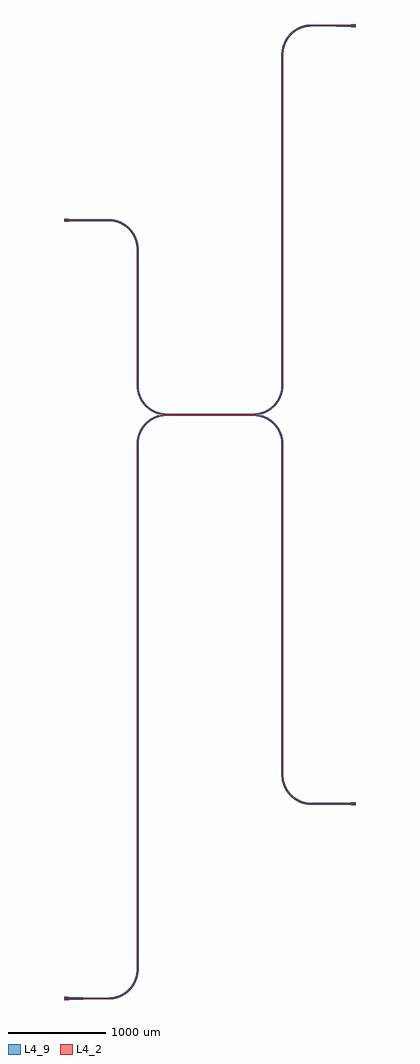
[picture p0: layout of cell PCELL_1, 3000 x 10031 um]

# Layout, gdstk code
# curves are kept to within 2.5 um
import gdstk
lib = gdstk.Library(unit=1e-6, precision=5e-09)
def R(c, l, rs):  # rectangles x0, y0, x1, y1
    for r in rs: c.add(gdstk.rectangle(r[:2], r[2:], *l))
def P(c, l, *ps):  # polygons
    for p in ps: c.add(gdstk.Polygon(p, *l))
L4_2 = (4, 2)
L4_9 = (4, 9)

transition_wire_wire_lin = lib.new_cell('TRANSITION_WIRE_WIRE_LINEAR_1')
P(transition_wire_wire_lin, L4_2, [(50,7.5),(50,-7.5),(350,-1.9),(350,1.9)])
P(transition_wire_wire_lin, L4_9, [(50,15.5),(50,7.5),(50,-7.5),(50,-15.5),(350,-9.9),(350,-1.9),(350,1.9),(350,9.9)])

c_transition_wire_wire_lin = lib.new_cell('TRANSITION_WIRE_WIRE_LINEAR_2')
P(c_transition_wire_wire_lin, L4_2, [(50,1.9),(50,-1.9),(350,-7.5),(350,7.5)])
P(c_transition_wire_wire_lin, L4_9, [(50,9.9),(50,1.9),(50,-1.9),(50,-9.9),(350,-15.5),(350,-7.5),(350,7.5),(350,15.5)])

dongbo = lib.new_cell('Dongbo')
R(dongbo, L4_2, [(0,-7.5,50,7.5)])
P(dongbo, L4_9, [(0,-15.5),(50,-15.5),(50,-7.5),(50,7.5),(50,15.5),(0,15.5),(0,7.5),(0,-7.5)])

my_dircoup_2_wg1a = lib.new_cell('my_dircoup_2_wg1a')
P(my_dircoup_2_wg1a, L4_2, [(-742.6,-304.4),(-741.875,-281.57),(-739.695,-260.845),(-736.075,-240.32),(-729.555,-215.1),(-722.765,-195.39),(-714.625,-176.205),(-702.595,-153.1),(-691.55,-135.425),(-679.3,-118.565),(-665.905,-102.6),(-651.425,-87.605),(-631.915,-70.345),(-615.27,-57.8),(-593.3,-43.805),(-574.9,-34.02),(-555.86,-25.545),(-531.3,-16.845),(-506.08,-10.325),(-480.39,-6.025),(-459.63,-4.21),(-443.995,-3.8),(0,-3.8),(0,-1),(-454.52,-1.185),(-480.73,-3.245),(-506.665,-7.585),(-532.12,-14.17),(-556.905,-22.945),(-580.835,-33.85),(-599.235,-44.05),(-621.16,-58.56),(-637.735,-71.515),(-653.37,-85.59),(-667.985,-100.725),(-684.71,-121.015),(-696.775,-138.245),(-710.12,-160.9),(-719.345,-179.81),(-727.225,-199.315),(-735.13,-224.39),(-740.82,-250.06),(-744.255,-276.13),(-745.215,-291.88),(-745.4,-304.4)])
P(my_dircoup_2_wg1a, L4_9, [(-734.6,-304.4),(-731.77,-261.955),(-723.34,-222.3),(-707.375,-179.585),(-687.715,-144.13),(-659.96,-107.95),(-630.795,-79.79),(-593.67,-53.305),(-557.545,-34.9),(-504.42,-18.15),(-454.14,-11.975),(0,-11.8),(0,7),(-454.8,6.81),(-508.33,0.24),(-564.89,-17.595),(-607.955,-40.015),(-646.985,-68.895),(-681.015,-103.52),(-709.21,-143.045),(-734.74,-196.58),(-749.59,-254),(-753.4,-304.4)])

my_dircoup_2_wg2a = lib.new_cell('my_dircoup_2_wg2a')
P(my_dircoup_2_wg2a, L4_2, [(-745.4,304.4),(-744.68,281.605),(-742.53,260.91),(-737.845,235.33),(-732.515,215.22),(-725.815,195.52),(-717.77,176.335),(-708.42,157.745),(-694.965,135.49),(-682.855,118.575),(-666.12,98.67),(-651.535,83.83),(-631.92,66.755),(-615.215,54.355),(-597.695,43.13),(-579.44,33.145),(-555.725,22.475),(-531.18,13.885),(-505.985,7.445),(-480.33,3.195),(-454.405,1.18),(0,1),(0,3.8),(-443.995,3.8),(-459.455,4.2),(-485.105,6.645),(-510.445,11.285),(-530.37,16.565),(-554.69,25.075),(-573.56,33.37),(-591.81,42.95),(-613.625,56.655),(-630.175,68.945),(-645.835,82.345),(-660.54,96.795),(-677.455,116.225),(-689.745,132.775),(-703.45,154.59),(-713.03,172.84),(-721.325,191.71),(-728.3,211.11),(-733.925,230.94),(-739.005,256.2),(-741.89,281.8),(-742.6,304.4)])
P(my_dircoup_2_wg2a, L4_9, [(-753.4,304.4),(-750.455,259.81),(-740.175,212.905),(-722.76,168.155),(-701.625,131.06),(-675.59,97.23),(-641.055,63.865),(-606.345,39.01),(-563.635,17.065),(-512.85,0.755),(-454.68,-6.815),(0,-7),(0,11.8),(-454.03,11.975),(-503.765,18.01),(-556.365,34.405),(-587.85,49.9),(-621.235,72.105),(-651.25,98.695),(-677.32,129.165),(-701.315,167.35),(-720.685,213.555),(-731.1,257.435),(-734.6,304.4)])

my_dircoup_2_wg1b = lib.new_cell('my_dircoup_2_wg1b')
P(my_dircoup_2_wg1b, L4_2, [(0,-3.8),(454.305,-3.98),(479.99,-5.975),(505.41,-10.185),(530.37,-16.565),(554.69,-25.075),(573.56,-33.37),(591.81,-42.95),(613.625,-56.655),(630.175,-68.945),(645.835,-82.345),(660.54,-96.795),(677.455,-116.225),(689.745,-132.775),(703.45,-154.59),(713.03,-172.84),(721.325,-191.71),(728.3,-211.11),(733.925,-230.94),(739.005,-256.2),(741.89,-281.8),(742.6,-304.4),(745.4,-304.4),(744.68,-281.605),(742.53,-260.91),(737.845,-235.33),(732.515,-215.22),(725.815,-195.52),(717.77,-176.335),(708.42,-157.745),(694.965,-135.49),(682.855,-118.575),(666.12,-98.67),(651.535,-83.83),(631.92,-66.755),(615.215,-54.355),(597.695,-43.13),(579.44,-33.145),(555.725,-22.475),(531.18,-13.885),(505.985,-7.445),(480.33,-3.195),(454.405,-1.18),(0,-1)])
P(my_dircoup_2_wg1b, L4_9, [(0,-11.8),(454.03,-11.975),(503.765,-18.01),(547.05,-30.685),(583.47,-47.455),(617.235,-69.08),(647.705,-95.15),(677.32,-129.165),(701.315,-167.35),(720.685,-213.555),(731.1,-257.435),(734.6,-304.4),(753.4,-304.4),(750.455,-259.81),(740.175,-212.905),(722.76,-168.155),(698.63,-126.64),(668.37,-89.36),(632.705,-57.205),(592.495,-30.96),(553.715,-13.105),(502.395,1.44),(444.04,7),(0,7)])

my_dircoup_2_wg2b = lib.new_cell('my_dircoup_2_wg2b')
P(my_dircoup_2_wg2b, L4_2, [(0,1),(454.405,1.18),(480.33,3.195),(505.985,7.445),(531.18,13.885),(555.725,22.475),(579.44,33.145),(597.695,43.13),(615.215,54.355),(631.92,66.755),(651.535,83.83),(666.12,98.67),(682.855,118.575),(694.965,135.49),(708.42,157.745),(717.77,176.335),(725.815,195.52),(732.515,215.22),(737.845,235.33),(742.53,260.91),(744.68,281.605),(745.4,304.4),(742.6,304.4),(741.89,281.8),(739.005,256.2),(733.925,230.94),(728.3,211.11),(721.325,191.71),(713.03,172.84),(703.45,154.59),(689.745,132.775),(677.455,116.225),(660.54,96.795),(645.835,82.345),(630.175,68.945),(613.625,56.655),(591.81,42.95),(573.56,33.37),(554.69,25.075),(530.37,16.565),(510.445,11.285),(485.105,6.645),(459.455,4.2),(443.995,3.8),(0,3.8)])
P(my_dircoup_2_wg2b, L4_9, [(0,-7),(454.68,-6.815),(512.85,0.755),(563.635,17.065),(606.345,39.01),(641.055,63.865),(675.59,97.23),(701.625,131.06),(722.76,168.155),(740.175,212.905),(750.455,259.81),(753.4,304.4),(734.6,304.4),(731.1,257.435),(720.685,213.555),(701.315,167.35),(677.32,129.165),(651.25,98.695),(621.235,72.105),(587.85,49.9),(556.365,34.405),(503.765,18.01),(454.03,11.975),(0,11.8)])

my_dircoup_2 = lib.new_cell('my_dircoup_2')
my_dircoup_2.add(gdstk.Reference(my_dircoup_2_wg1a, (0,0)))
my_dircoup_2.add(gdstk.Reference(my_dircoup_2_wg2a, (0,0)))
my_dircoup_2.add(gdstk.Reference(my_dircoup_2_wg1b, (0,0)))
my_dircoup_2.add(gdstk.Reference(my_dircoup_2_wg2b, (0,0)))

pcell_1_link1 = lib.new_cell('PCELL_1_link1')
P(pcell_1_link1, L4_2, [(2242.6,304.4),(2245.4,304.4),(2245.9,327),(2242.1,327)],
  [(2245.9,327),(2245.9,3699.99),(2246.3,3715.43),(2247.495,3730.82),(2249.49,3746.125),(2252.27,3761.305),(2257.195,3781.29),(2261.79,3796.025),(2269.085,3815.265),(2275.42,3829.34),(2282.475,3843.07),(2290.23,3856.415),(2298.67,3869.34),(2307.765,3881.81),(2317.49,3893.795),(2327.825,3905.26),(2338.74,3916.175),(2350.205,3926.51),(2366.295,3939.34),(2378.92,3948.22),(2400.93,3961.525),(2414.66,3968.58),(2428.735,3974.915),(2443.12,3980.51),(2457.775,3985.355),(2472.66,3989.44),(2487.735,3992.74),(2513.18,3996.505),(2533.71,3997.92),(2650,3998.1),(2650,4001.9),(2533.58,4001.72),(2507.61,3999.7),(2487.02,3996.475),(2471.75,3993.125),(2456.675,3988.995),(2441.835,3984.085),(2427.265,3978.42),(2413.01,3972.005),(2399.105,3964.86),(2376.815,3951.38),(2364.03,3942.39),(2351.72,3932.75),(2339.935,3922.485),(2328.69,3911.625),(2318.025,3900.195),(2304.75,3884.13),(2295.54,3871.5),(2286.995,3858.41),(2279.14,3844.895),(2271.995,3830.99),(2265.58,3816.735),(2258.19,3797.25),(2253.54,3782.325),(2249.67,3767.18),(2246.585,3751.855),(2243.72,3731.21),(2242.505,3715.625),(2242.1,3700.01),(2242.1,327)])
P(pcell_1_link1, L4_9, [(2234.6,304.4),(2242.6,304.4),(2245.4,304.4),(2253.4,304.4),(2253.9,327),(2245.9,327),(2242.1,327),(2234.1,327)],
  [(2253.9,327),(2255.455,3729.99),(2267.79,3788.695),(2294.45,3847.93),(2330.21,3896.09),(2375.11,3935.865),(2427.225,3965.56),(2489.245,3984.885),(2533.985,3989.925),(2650,3990.1),(2650,4009.9),(2533.305,4009.715),(2485.51,4004.33),(2424.17,3985.795),(2372.385,3958.045),(2322.985,3917.235),(2280.185,3862.605),(2250.62,3799.825),(2235.76,3732.04),(2234.1,327)])

pcell_1_link2 = lib.new_cell('PCELL_1_link2')
P(pcell_1_link2, L4_2, [(2245.4,-304.4),(2242.6,-304.4),(2242.1,-327),(2245.9,-327)],
  [(2242.1,-327),(2242.1,-3700.01),(2242.505,-3715.625),(2243.72,-3731.21),(2246.585,-3751.855),(2249.67,-3767.18),(2253.54,-3782.325),(2258.19,-3797.25),(2265.58,-3816.735),(2271.995,-3830.99),(2279.14,-3844.895),(2286.995,-3858.41),(2295.54,-3871.5),(2304.75,-3884.13),(2318.025,-3900.195),(2328.69,-3911.625),(2339.935,-3922.485),(2351.72,-3932.75),(2364.03,-3942.39),(2376.815,-3951.38),(2399.105,-3964.86),(2413.01,-3972.005),(2427.265,-3978.42),(2441.835,-3984.085),(2456.675,-3988.995),(2471.75,-3993.125),(2487.02,-3996.475),(2507.61,-3999.7),(2533.58,-4001.72),(2650,-4001.9),(2650,-3998.1),(2533.71,-3997.92),(2513.18,-3996.505),(2487.735,-3992.74),(2472.66,-3989.44),(2457.775,-3985.355),(2443.12,-3980.51),(2428.735,-3974.915),(2414.66,-3968.58),(2400.93,-3961.525),(2378.92,-3948.22),(2366.295,-3939.34),(2350.205,-3926.51),(2338.74,-3916.175),(2327.825,-3905.26),(2317.49,-3893.795),(2307.765,-3881.81),(2298.67,-3869.34),(2290.23,-3856.415),(2282.475,-3843.07),(2275.42,-3829.34),(2269.085,-3815.265),(2261.79,-3796.025),(2257.195,-3781.29),(2252.27,-3761.305),(2249.49,-3746.125),(2247.495,-3730.82),(2246.3,-3715.43),(2245.9,-3699.99),(2245.9,-327)])
P(pcell_1_link2, L4_9, [(2253.4,-304.4),(2245.4,-304.4),(2242.6,-304.4),(2234.6,-304.4),(2234.1,-327),(2242.1,-327),(2245.9,-327),(2253.9,-327)],
  [(2234.1,-327),(2234.1,-3700.045),(2236.36,-3737.355),(2252.385,-3804.875),(2280.185,-3862.605),(2322.985,-3917.235),(2372.385,-3958.045),(2424.17,-3985.795),(2485.51,-4004.33),(2533.305,-4009.715),(2650,-4009.9),(2650,-3990.1),(2533.985,-3989.925),(2489.245,-3984.885),(2431.83,-3967.535),(2379.205,-3938.745),(2333.625,-3899.75),(2294.45,-3847.93),(2269.365,-3793.445),(2256.015,-3734.97),(2253.9,-3699.955),(2253.9,-327)])

pcell_1_link3 = lib.new_cell('PCELL_1_link3')
P(pcell_1_link3, L4_2, [(754.6,304.4),(757.4,304.4),(757.9,327),(754.1,327)],
  [(350,1998.1),(461.145,1998.055),(481.695,1996.99),(502.125,1994.51),(527.34,1989.44),(552.025,1982.21),(575.995,1972.885),(589.955,1966.305),(603.56,1959.015),(616.77,1951.03),(629.55,1942.37),(641.86,1933.065),(653.675,1923.13),(664.96,1912.6),(675.685,1901.5),(685.82,1889.855),(695.34,1877.705),(709.77,1856.415),(717.525,1843.07),(724.58,1829.34),(730.915,1815.265),(736.51,1800.88),(741.355,1786.225),(745.44,1771.34),(749.67,1751.2),(751.925,1735.93),(753.39,1720.565),(754.1,1699.99),(754.1,327),(757.9,327),(757.9,1700.01),(757.495,1715.625),(755.7,1736.39),(753.415,1751.855),(749.125,1772.25),(744.995,1787.325),(740.085,1802.165),(734.42,1816.735),(728.005,1830.99),(720.86,1844.895),(713.005,1858.41),(704.46,1871.5),(695.25,1884.13),(685.395,1896.265),(674.93,1907.875),(656.195,1925.975),(644.23,1936.035),(631.76,1945.46),(618.82,1954.23),(605.445,1962.315),(582.275,1974.225),(567.91,1980.39),(553.25,1985.81),(538.325,1990.46),(523.18,1994.33),(497.56,1999.025),(476.83,2001.18),(461.21,2001.855),(350,2001.9)])
P(pcell_1_link3, L4_9, [(746.6,304.4),(754.6,304.4),(757.4,304.4),(765.4,304.4),(765.9,327),(757.9,327),(754.1,327),(746.1,327)],
  [(350,1990.1),(461.005,1990.055),(500.885,1986.605),(554.175,1972.985),(599.6,1952.065),(648.37,1917.145),(688.915,1872.94),(719.505,1821.34),(737.67,1769.425),(743.985,1734.97),(746.1,1699.955),(746.1,327),(765.9,327),(765.9,1700.045),(763.64,1737.355),(756.895,1774.165),(735.21,1834.46),(701.59,1889.01),(653.375,1938.92),(600.02,1974.405),(540.505,1998.155),(477.38,2009.16),(350,2009.9)])

pcell_1_link4 = lib.new_cell('PCELL_1_link4')
P(pcell_1_link4, L4_2, [(757.4,-304.4),(754.6,-304.4),(754.1,-327),(757.9,-327)],
  [(350,-6001.9),(466.42,-6001.72),(492.39,-5999.7),(512.98,-5996.475),(528.25,-5993.125),(543.325,-5988.995),(558.165,-5984.085),(572.735,-5978.42),(586.99,-5972.005),(600.895,-5964.86),(614.41,-5957.005),(627.5,-5948.46),(640.13,-5939.25),(656.195,-5925.975),(667.625,-5915.31),(678.485,-5904.065),(688.75,-5892.28),(698.39,-5879.97),(710.23,-5862.82),(718.315,-5849.445),(728.005,-5830.99),(734.42,-5816.735),(740.085,-5802.165),(744.995,-5787.325),(750.33,-5767.18),(753.415,-5751.855),(755.7,-5736.39),(757.18,-5720.83),(757.9,-5700.01),(757.9,-327),(754.1,-327),(754.1,-5699.99),(753.39,-5720.565),(751.925,-5735.93),(749.67,-5751.2),(745.44,-5771.34),(741.355,-5786.225),(734.73,-5805.71),(728.885,-5819.995),(722.305,-5833.955),(715.015,-5847.56),(707.03,-5860.77),(698.37,-5873.55),(689.065,-5885.86),(675.685,-5901.5),(661.26,-5916.175),(649.795,-5926.51),(637.81,-5936.235),(625.34,-5945.33),(612.415,-5953.77),(599.07,-5961.525),(575.995,-5972.885),(561.71,-5978.73),(547.14,-5983.825),(532.325,-5988.165),(517.305,-5991.73),(491.93,-5995.925),(466.29,-5997.92),(350,-5998.1)])
P(pcell_1_link4, L4_9, [(765.4,-304.4),(757.4,-304.4),(754.6,-304.4),(746.6,-304.4),(746.1,-327),(754.1,-327),(757.9,-327),(765.9,-327)],
  [(350,-6009.9),(466.695,-6009.715),(514.49,-6004.33),(575.83,-5985.795),(632.045,-5955.045),(684.38,-5909.475),(725.27,-5853.405),(752.655,-5789.64),(765.16,-5721.38),(765.9,-327),(746.1,-327),(745.41,-5720.015),(733.7,-5783.91),(710.505,-5839.23),(673.145,-5892.37),(628.94,-5932.915),(586.36,-5959.16),(535.105,-5979.105),(471.015,-5989.71),(350,-5990.1)])

pcell_1 = lib.new_cell('PCELL_1')
pcell_1.add(gdstk.Reference(transition_wire_wire_lin, (0,2000)))
pcell_1.add(gdstk.Reference(c_transition_wire_wire_lin, (2600,-4000)))
pcell_1.add(gdstk.Reference(dongbo, (2950,-4000)))
pcell_1.add(gdstk.Reference(c_transition_wire_wire_lin, (2600,4000)))
pcell_1.add(gdstk.Reference(dongbo, (2950,4000)))
pcell_1.add(gdstk.Reference(my_dircoup_2, (1500,0)))
pcell_1.add(gdstk.Reference(dongbo, (0,-6000)))
pcell_1.add(gdstk.Reference(dongbo, (0,2000)))
pcell_1.add(gdstk.Reference(transition_wire_wire_lin, (0,-6000)))
pcell_1.add(gdstk.Reference(pcell_1_link1, (0,0)))
pcell_1.add(gdstk.Reference(pcell_1_link2, (0,0)))
pcell_1.add(gdstk.Reference(pcell_1_link3, (0,0)))
pcell_1.add(gdstk.Reference(pcell_1_link4, (0,0)))

lib.write_gds('PCELL_1.gds')
